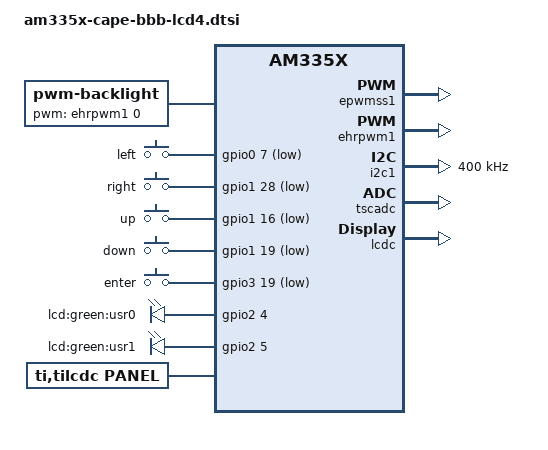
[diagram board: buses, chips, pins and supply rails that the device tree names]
/*
 * Copyright (C) 2012 Texas Instruments Incorporated - http://www.ti.com/
 *
 * This program is free software; you can redistribute it and/or modify
 * it under the terms of the GNU General Public License version 2 as
 * published by the Free Software Foundation.
 */

#include <dt-bindings/board/am335x-bbw-bbb-base.h>

#include "am335x-peripheral-ttyS1.dtsi"
#include "am335x-bone-pinmux-ttyS1.dtsi"

#include "am335x-peripheral-ttyS2.dtsi"
#include "am335x-bone-pinmux-ttyS2.dtsi"

#include "am335x-peripheral-ttyS4.dtsi"
#include "am335x-bone-pinmux-ttyS4.dtsi"

&am33xx_pinmux {
	user_leds_s1: user_leds_s1 {
		pinctrl-single,pins = <
			0x98 0x7	/* gpmc_wen.gpio2_4, OUTPUT | MODE7 */
			0x9c 0x7	/* gpmc_ben0_cle.gpio2_5, OUTPUT | MODE7 */
		>;
	};

	bb_lcd_pwm_backlight_pins: pinmux_bb_lcd_pwm_backlight_pins {
		pinctrl-single,pins = <
			BONE_P9_14 (PIN_OUTPUT_PULLDOWN | MUX_MODE6) /* gpmc_a2.ehrpwm1a */
		>;
	};

	keymap3_pins: pinmux_keymap3_pins {
		pinctrl-single,pins = <
			0x040 0x2f	/* KEY_UP gpmc_a0.gpio1_16, INPUT | PULLDIS | MODE7 */
			0x04c 0x2f	/* KEY_DOWN gpmc_a3.gpio1_19, INPUT | PULLDIS | MODE7 */
			0x078 0x2f	/* KEY_RIGHT gpmc_ben1.gpio1_28, INPUT | PULLDIS | MODE7 */
			0x164 0x2f	/* KEY_LEFT ecap0_in_pwm0_out.gpio0_7, INPUT | PULLDIS | MODE7 */
			0x1a4 0x2f	/* KEY_ENTER mcasp0_fxr.gpio3_19, INPUT | PULLDIS | MODE7 */
		>;
	};

	i2c1_pins: pinmux_i2c1_pins {
		pinctrl-single,pins = <
			/* spi0_d1.i2c1_sda, SLEWCTRL_SLOW | INPUT_PULLUP | MODE2 */
			BONE_P9_18 (PIN_INPUT_PULLUP | SLEWCTRL_FAST | MUX_MODE2)
			/* spi0_cs0.i2c1_scl, SLEWCTRL_SLOW | INPUT_PULLUP | MODE2 */
			BONE_P9_17 (PIN_INPUT_PULLUP | SLEWCTRL_FAST | MUX_MODE2)
		>;
	};
};

&epwmss1 {
	status = "okay";
};


&ehrpwm1 {
	pinctrl-names = "default";
	pinctrl-0 = <&bb_lcd_pwm_backlight_pins>;
	status = "okay";
};

&i2c1 {
	status = "okay";
	pinctrl-names = "default";
	pinctrl-0 = <&i2c1_pins>;
	clock-frequency = <400000>;

};

/ {
	backlight {
		status = "okay";
		compatible = "pwm-backlight";
		pwms = <&ehrpwm1 0 500000 0>;
		brightness-levels = <
			0  1  2  3  4  5  6  7  8  9
			10 11 12 13 14 15 16 17 18 19
			20 21 22 23 24 25 26 27 28 29
			30 31 32 33 34 35 36 37 38 39
			40 41 42 43 44 45 46 47 48 49
			50 51 52 53 54 55 56 57 58 59
			60 61 62 63 64 65 66 67 68 69
			70 71 72 73 74 75 76 77 78 79
			80 81 82 83 84 85 86 87 88 89
			90 91 92 93 94 95 96 97 98 99
			100
		>;
		default-brightness-level = <100>;
	};

	gpio_keys {
		compatible = "gpio-keys";
		pinctrl-names = "default";
		pinctrl-0 = <&keymap3_pins>;

		#address-cells = <1>;
		#size-cells = <0>;

		button@1 {
			debounce_interval = <50>;
			linux,code = <105>;
			label = "left";
			gpios = <&gpio0 7 0x1>;
			gpio-key,wakeup;
			autorepeat;
		};
		button@2 {
			debounce_interval = <50>;
			linux,code = <106>;
			label = "right";
			gpios = <&gpio1 28 0x1>;
			gpio-key,wakeup;
			autorepeat;
		};
		button@3 {
			debounce_interval = <50>;
			linux,code = <103>;
			label = "up";
			gpios = <&gpio1 16 0x1>;
			gpio-key,wakeup;
			autorepeat;
		};
		button@4 {
			debounce_interval = <50>;
			linux,code = <108>;
			label = "down";
			gpios = <&gpio1 19 0x1>;
			gpio-key,wakeup;
			autorepeat;
		};
		button@5 {
			debounce_interval = <50>;
			linux,code = <28>;
			label = "enter";
			gpios = <&gpio3 19 0x1>;
			gpio-key,wakeup;
		};
	};

	gpio-leds-cape-lcd {
		compatible = "gpio-leds";
		pinctrl-names = "default";

		pinctrl-0 = <&user_leds_s1>;

		lcd-led0 {
			label = "lcd:green:usr0";
			gpios = <&gpio2 4 0>;
			linux,default-trigger = "heartbeat";
			default-state = "off";
		};

		lcd-led1 {
			label = "lcd:green:usr1";
			gpios = <&gpio2 5 0>;
			linux,default-trigger = "mmc0";
			default-state = "off";
		};
	};

};

&tscadc {
	status = "okay";
	tsc {
		ti,wires = <4>;
		ti,x-plate-resistance = <200>;
		ti,coordinate-readouts = <5>;
		ti,wire-config = <0x00 0x11 0x22 0x33>;
		ti,charge-delay = <0x400>;
	};

	adc {
		ti,adc-channels = <4 5 6 7>;
		ti,chan-step-opendelay = <0x098 0x3ffff 0x098 0x0>;
		ti,chan-step-sampledelay = <0xff 0x0 0xf 0x0>;
		ti,chan-step-avg = <16 2 4 8>;
	};
};


&lcdc {
	status = "okay";
};


&am33xx_pinmux {
	lcd_24bit_pins: pinmux_lcd_24bit_pins {
		pinctrl-single,pins = <

			BONE_P9_27 (PIN_OUTPUT_PULLUP | MUX_MODE7)	/* P9_27: mcasp0_fsr.gpio3_19 */

			BONE_P8_45 (PIN_OUTPUT | MUX_MODE0)	/* P8_45: lcd_data0.lcd_data0 */
			BONE_P8_46 (PIN_OUTPUT | MUX_MODE0)	/* P8_46: lcd_data1.lcd_data1 */
			BONE_P8_43 (PIN_OUTPUT | MUX_MODE0)	/* P8_43: lcd_data2.lcd_data2 */
			BONE_P8_44 (PIN_OUTPUT | MUX_MODE0)	/* P8_44: lcd_data3.lcd_data3 */
			BONE_P8_41 (PIN_OUTPUT | MUX_MODE0)	/* P8_41: lcd_data4.lcd_data4 */
			BONE_P8_42 (PIN_OUTPUT | MUX_MODE0)	/* P8_42: lcd_data5.lcd_data5 */
			BONE_P8_39 (PIN_OUTPUT | MUX_MODE0)	/* P8_39: lcd_data6.lcd_data6 */
			BONE_P8_40 (PIN_OUTPUT | MUX_MODE0)	/* P8_40: lcd_data7.lcd_data7 */
			BONE_P8_37 (PIN_OUTPUT | MUX_MODE0)	/* P8_37: lcd_data8.lcd_data8 */
			BONE_P8_38 (PIN_OUTPUT | MUX_MODE0)	/* P8_38: lcd_data9.lcd_data9 */
			BONE_P8_36 (PIN_OUTPUT | MUX_MODE0)	/* P8_36: lcd_data10.lcd_data10 */
			BONE_P8_34 (PIN_OUTPUT | MUX_MODE0)	/* P8_34: lcd_data11.lcd_data11 */
			BONE_P8_35 (PIN_OUTPUT | MUX_MODE0)	/* P8_35: lcd_data12.lcd_data12 */
			BONE_P8_33 (PIN_OUTPUT | MUX_MODE0)	/* P8_33: lcd_data13.lcd_data13 */
			BONE_P8_31 (PIN_OUTPUT | MUX_MODE0)	/* P8_31: lcd_data14.lcd_data14 */
			BONE_P8_32 (PIN_OUTPUT | MUX_MODE0)	/* P8_32: lcd_data15.lcd_data15 */

			BONE_P8_27 (PIN_OUTPUT | MUX_MODE0)	/* P8_27: lcd_vsync.lcd_vsync */
			BONE_P8_29 (PIN_OUTPUT | MUX_MODE0)	/* P8_29: lcd_hsync.lcd_hsync */
			BONE_P8_28 (PIN_OUTPUT | MUX_MODE0)	/* P8_28: lcd_pclk.lcd_pclk */
			BONE_P8_30 (PIN_OUTPUT | MUX_MODE0)	/* P8_30: lcd_ac_bias_en.lcd_ac_bias_en */
		>;
	};
};


/ {
	panel {
		status = "okay";
		compatible = "ti,tilcdc,panel";
		pinctrl-names = "default";
		pinctrl-0 = <&lcd_24bit_pins>;
		panel-info {
			ac-bias           = <255>;
			ac-bias-intrpt    = <0>;
			dma-burst-sz      = <16>;
			bpp               = <16>;
			fdd               = <0x80>;
			sync-edge         = <0>;
			sync-ctrl         = <1>;
			raster-order      = <0>;
			fifo-th           = <0>;
		};
		display-timings {
			native-mode = <&timing0>;
			/* www.newhavendisplay.com/app_notes/OTA5180A.pdf */
			timing0: 480x272 {
				clock-frequency = <9200000>;
				hactive = <480>;
				vactive = <272>;
				hfront-porch = <8>;
				hback-porch = <47>;
				hsync-len = <41>;
				vback-porch = <2>;
				vfront-porch = <3>;
				vsync-len = <10>;
				hsync-active = <0>;
				vsync-active = <0>;
				de-active = <1>;
				pixelclk-active = <0>;
			};
		};
	};
};

